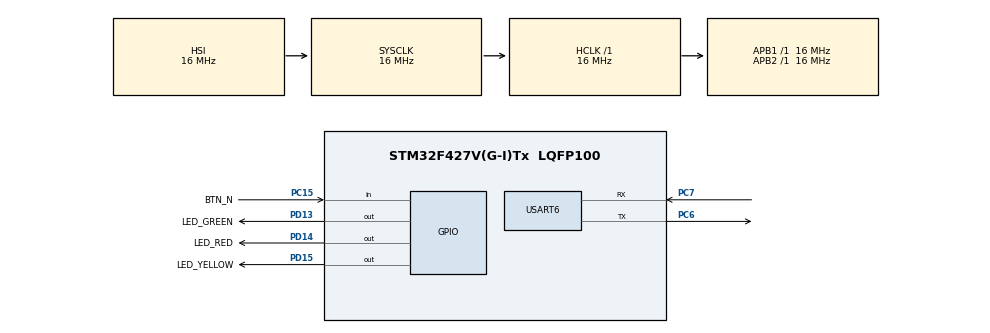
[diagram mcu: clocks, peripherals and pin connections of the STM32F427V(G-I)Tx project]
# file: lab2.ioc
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Mcu.Family=STM32F4
Mcu.Name=STM32F427V(G-I)Tx
Mcu.Package=LQFP100
NVIC.PriorityGroup=NVIC_PRIORITYGROUP_4
NVIC.USART6_IRQn=true\:0\:0\:false\:false\:true\:true\:true\:true
PA13.Mode=JTAG_5_pins
PA13.Signal=SYS_JTMS-SWDIO
PA14.Mode=JTAG_5_pins
PA14.Signal=SYS_JTCK-SWCLK
PA15.Mode=JTAG_5_pins
PA15.Signal=SYS_JTDI
PB3.Mode=JTAG_5_pins
PB3.Signal=SYS_JTDO-SWO
PB4.Mode=JTAG_5_pins
PB4.Signal=SYS_JTRST
PC15/OSC32_OUT.GPIO_Label=BTN_N
PC15/OSC32_OUT.Signal=GPIO_Input
PC6.Mode=Asynchronous
PC6.Signal=USART6_TX
PC7.Mode=Asynchronous
PC7.Signal=USART6_RX
PD13.GPIO_Label=LED_GREEN
PD13.Signal=GPIO_Output
PD14.GPIO_Label=LED_RED
PD14.Signal=GPIO_Output
PD15.GPIO_Label=LED_YELLOW
PD15.Signal=GPIO_Output
ProjectManager.HeapSize=0x200
ProjectManager.StackSize=0x400
ProjectManager.TargetToolchain=STM32CubeIDE
RCC.AHBFreq_Value=16000000
RCC.APB1Freq_Value=16000000
RCC.APB2Freq_Value=16000000
RCC.CortexFreq_Value=16000000
RCC.HSE_VALUE=25000000
RCC.HSI_VALUE=16000000
RCC.LSE_VALUE=32768
RCC.SYSCLKFreq_VALUE=16000000
RCC.VCOOutputFreq_Value=192000000
USART6.VirtualMode=VM_ASYNC
board=custom

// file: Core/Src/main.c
/* USER CODE BEGIN Header */
/**
  ******************************************************************************
  * @file           : main.c
  * @brief          : Main program body
  ******************************************************************************
  * @attention
  *
  * Copyright (c) 2022 STMicroelectronics.
  * All rights reserved.
  *
  * This software is licensed under terms that can be found in the LICENSE file
  * in the root directory of this software component.
  * If no LICENSE file comes with this software, it is provided AS-IS.
  *
  ******************************************************************************
  */
/* USER CODE END Header */
#include "main.h"
#include "usart.h"
#include "gpio.h"

/* USER CODE BEGIN Includes */
#include <string.h>
#include <stdio.h>
#include <inttypes.h>

#include "traffic_light.h"
#include "hardware/button.h"
#include "command.h"
#include "menu.h"
/* USER CODE END Includes */

/* USER CODE BEGIN PD */
#define UART_BUF_SIZE 128
/* USER CODE END PD */

/* USER CODE BEGIN PV */
static uint8_t uartBuf[UART_BUF_SIZE];
static uint8_t uartBufLast = 0;
static uint8_t buttonEnabled = 1;
static uint8_t hasLine = 0;
static Command *commands[4];

static uint32_t durations[3] = {
        [RED] = 6000,
        [YELLOW] = 1500,
        [GREEN] = 1500
};
/* USER CODE END PV */

void SystemClock_Config(void);
/* USER CODE BEGIN PFP */
static char * getTrafficLightInfo();
static char * changeButtonMode(const uint32_t *intArg);
static char * changeInterruptionMode(const OnOffStatus *onOffStatus);
static char * changeRedTimeout(const uint32_t *intArg);
static void onButtonClick();
static void sendMessage(const char * msg);
static void receiveAndSendChar();
static void sendCommandResult(const char * commandResult);

/* USER CODE END PFP */

int main(void)
{
  /* USER CODE BEGIN 1 */
  commands[0] = commandCreate("?", (CommandAction) getTrafficLightInfo, NONE);
  commands[1] = commandCreate("set mode", (CommandAction) changeButtonMode, INT);
  commands[2] = commandCreate("set interrupts", (CommandAction) changeInterruptionMode, ON_OFF);
  commands[3] = commandCreate("set timeout", (CommandAction) changeRedTimeout, INT);
  /* USER CODE END 1 */

  /* MCU Configuration--------------------------------------------------------*/

  /* Reset of all peripherals, Initializes the Flash interface and the Systick. */
  HAL_Init();

  /* Configure the system clock */
  SystemClock_Config();

  /* Initialize all configured peripherals */
  MX_GPIO_Init();
  MX_USART6_UART_Init();
  /* USER CODE BEGIN 2 */
  uartInit();

  trafficLightInit(LED_RED_GPIO_Port, LED_RED_Pin, LED_YELLOW_GPIO_Port, LED_YELLOW_Pin, LED_GREEN_GPIO_Port, LED_GREEN_Pin);
  trafficLightSetDuration(RED, durations[RED]);
  trafficLightSetDuration(GREEN, durations[GREEN]);
  trafficLightSetDuration(YELLOW, durations[YELLOW]);
  trafficLightStart();

  buttonInit(BTN_N_GPIO_Port, BTN_N_Pin);
  buttonSetOnClick(&onButtonClick);
  buttonEnable();

  menuInit(commands, sizeof(commands));
  sendMessage("Started\n");
  /* USER CODE END 2 */

  /* Infinite loop */
  /* USER CODE BEGIN WHILE */
  while (1)  {
	  if (trafficLightGetColor() == GREEN && !trafficLightIsBlinking())
		  buttonDisable();
	  else {
		  if (buttonEnabled)
			  buttonEnable();
		  else
			  buttonDisable();
	  }

	  trafficLightUpdate();
	  buttonUpdateState();
	  uartPooling();

	  if (uartHasNext()) {
		  receiveAndSendChar();
	  }

	  if (hasLine) {
		  uartBuf[uartBufLast] = '\0';
		  const char *commandResult = menuExecuteCommand((char *) uartBuf);
		  sendMessage("\n");
		  sendCommandResult(commandResult);
	  }
    /* USER CODE END WHILE */

  }
}

void SystemClock_Config(void)
{
  RCC_OscInitTypeDef RCC_OscInitStruct = {0};
  RCC_ClkInitTypeDef RCC_ClkInitStruct = {0};

  /** Configure the main internal regulator output voltage
  */
  __HAL_RCC_PWR_CLK_ENABLE();
  __HAL_PWR_VOLTAGESCALING_CONFIG(PWR_REGULATOR_VOLTAGE_SCALE3);

  /** Initializes the RCC Oscillators according to the specified parameters
  * in the RCC_OscInitTypeDef structure.
  */
  RCC_OscInitStruct.OscillatorType = RCC_OSCILLATORTYPE_HSI;
  RCC_OscInitStruct.HSIState = RCC_HSI_ON;
  RCC_OscInitStruct.HSICalibrationValue = RCC_HSICALIBRATION_DEFAULT;
  RCC_OscInitStruct.PLL.PLLState = RCC_PLL_NONE;
  if (HAL_RCC_OscConfig(&RCC_OscInitStruct) != HAL_OK)
  {
    Error_Handler();
  }

  /** Initializes the CPU, AHB and APB buses clocks
  */
  RCC_ClkInitStruct.ClockType = RCC_CLOCKTYPE_HCLK|RCC_CLOCKTYPE_SYSCLK
                              |RCC_CLOCKTYPE_PCLK1|RCC_CLOCKTYPE_PCLK2;
  RCC_ClkInitStruct.SYSCLKSource = RCC_SYSCLKSOURCE_HSI;
  RCC_ClkInitStruct.AHBCLKDivider = RCC_SYSCLK_DIV1;
  RCC_ClkInitStruct.APB1CLKDivider = RCC_HCLK_DIV1;
  RCC_ClkInitStruct.APB2CLKDivider = RCC_HCLK_DIV1;

  if (HAL_RCC_ClockConfig(&RCC_ClkInitStruct, FLASH_LATENCY_0) != HAL_OK)
  {
    Error_Handler();
  }
}

/* USER CODE BEGIN 4 */
static void onButtonClick() {
    trafficLightSetShortRed(durations[RED] >> 2);
}

static char cmdBuf[128];
static char * getTrafficLightInfo() {
    char *bufLast = cmdBuf;
    uint8_t isBlinking = trafficLightIsBlinking();
    char *currentColor = colorGetName(trafficLightGetColor());
    bufLast += sprintf(bufLast, "Light: %s%s\n",
            isBlinking ? "blinking " : "",
            currentColor
    );
    bufLast += sprintf(bufLast, "Button mode: mode %" PRIu8 " (%s)\n",
                       buttonIsEnabled() + 1,
                       buttonIsEnabled() ? "enabled" : "disabled"
    );
    bufLast += sprintf(bufLast, "Red timeout: %" PRIu32 " s\n",
                       durations[RED] / (uint32_t) 1000
    );
    bufLast += sprintf(bufLast, "Interrupts mode: %s\n\r",
                       uartIsInterruptionEnabled()  ? "I" : "P"
    );
    return cmdBuf;
}

static char * changeButtonMode(const uint32_t *intArg) {
    if (*intArg == 2) {
        buttonEnabled = 1;
        return "Enable button\n";
    } else if (*intArg == 1) {
        buttonEnabled = 0;
        return "Disable button\n";
    } else {
        return "The int argument must be 1 or 2\n";
    }
}

static char * changeInterruptionMode(const OnOffStatus *onOffStatus) {
    if (*onOffStatus == ON) {
        uartEnableInterruption();
        return "Enable int\n";
    } else if (*onOffStatus == OFF) {
        uartDisableInterruption();
        return "Disable int\n";
    } else {
        return "The argument must be 'on' or 'off'\n";
    }
}

static char * changeRedTimeout(const uint32_t *intArg) {
    durations[RED] = *intArg * 1000;
    trafficLightSetDuration(RED, durations[RED]);
    return "OK\n";
}

static void sendMessage(const char * msg) {
    uartTransmit((uint8_t *) msg, strlen(msg));
}

static void receiveAndSendChar() {
    if (uartReceive(uartBuf + uartBufLast, 1)) {
        uint8_t received = uartBuf[uartBufLast];
        uartBufLast++;
        uartTransmit(&received, 1);

        if (received == '\r')
            hasLine = 1;
    }
}

static void sendCommandResult(const char * commandResult) {
    uartTransmit((uint8_t *) commandResult, strlen(commandResult));
    uartBufLast = 0;
    hasLine = 0;
}
/* USER CODE END 4 */

void Error_Handler(void)
{
  __disable_irq();
  while (1)
  {
  }
}
